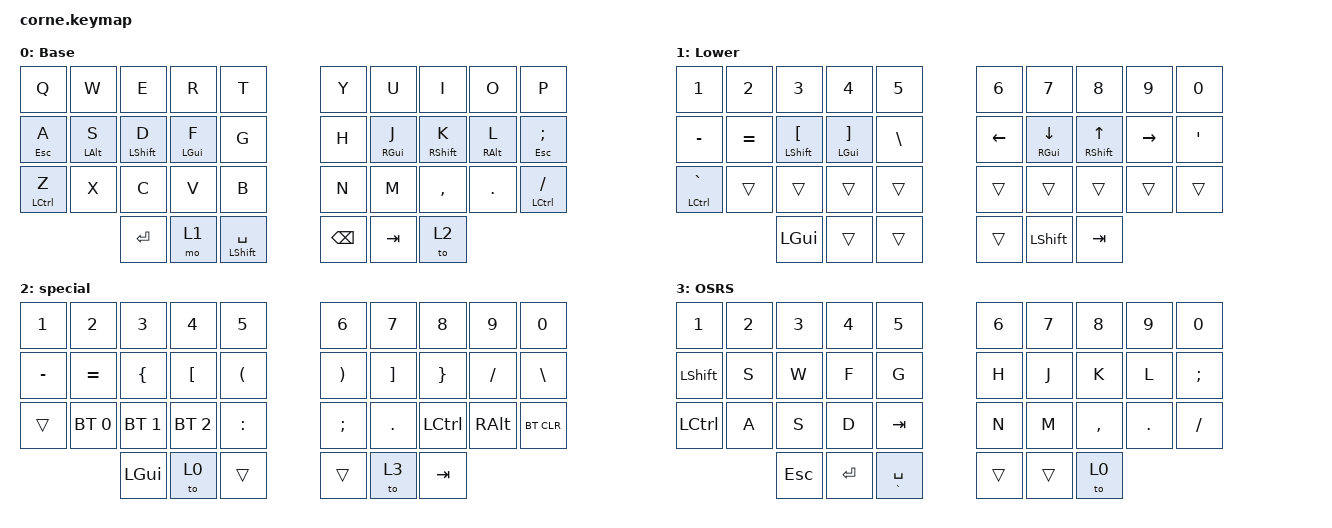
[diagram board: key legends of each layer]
/*
 * Copyright (c) 2020 The ZMK Contributors
 *
 * SPDX-License-Identifier: MIT
 */

#include <behaviors.dtsi>
#include <dt-bindings/zmk/bt.h>
#include <dt-bindings/zmk/keys.h>

&mt {
    tapping-term-ms = <300>;
    flavor = "tap-preferred";
};

/ {
    chosen { zmk,matrix_transform = &five_column_transform; };

    behaviors {
        kht: kht {
            compatible = "zmk,behavior-hold-tap";
            label = "Key hold tap";
            bindings = <&kp>, <&kp>;

            #binding-cells = <2>;
            tapping-term-ms = <250>;
            quick-tap-ms = <200>;
            require-prior-idle-ms = <125>;
            flavor = "tap-preferred";
        };
    };

    combos {
        compatible = "zmk,combos";

        tab_combo {
            bindings = <&kp TAB>;
            key-positions = <11 12 13>;
        };

        enter_combo {
            bindings = <&kp ENTER>;
            key-positions = <32 33>;
        };
    };

    keymap {
        compatible = "zmk,keymap";

        default_layer {
            // -----------------------------------------------------------------------------------------
            // |  Q  |  W  |  E  |  R  |  T  |     |  Y  |  U   |  I   |  O   | P |
            // |  A  |  S  |  D  |  F  |  G  |     |  H  |  J   |  K   |  L   | ' | 
            // |  Z  |  X  |  C  |  V  |  B  |     |  N  |  M   | CTRL | META | . |
            //             | GUI | LWR | SPC |     | ENT | RSE  | BSPC |

            display-name = "Base";
            bindings = <
  &kp Q                &kp W            &kp E              &kp R            &kp T                    &kp Y          &kp U             &kp I               &kp O             &kp P
  &kht ESCAPE A        &kht LEFT_ALT S  &kht LEFT_SHIFT D  &kht LEFT_GUI F  &kp G                    &kp H          &kht RIGHT_GUI J  &kht RIGHT_SHIFT K  &kht RIGHT_ALT L  &kht ESCAPE SEMI
  &kht LEFT_CONTROL Z  &kp X            &kp C              &kp V            &kp B                    &kp N          &kp M             &kp COMMA           &kp PERIOD        &kht LEFT_CONTROL SLASH
                                        &kp ENTER          &mo 1            &kht LEFT_SHIFT SPACE    &kp BACKSPACE  &kp TAB           &to 2
            >;
        };

        num_symbols {
            // -----------------------------------------------------------------------------------------
            // | !     |  @  |  #  |  $  |  %  |     |  ^  |  &  |  *  |  (  |  )  |
            // | BT1   | BT2 | BT3 | BT4 | BT5 |     | LFT | DWN |  UP | RGT |     |
            // | BTCLR |     |     |     |     |     |     |     |     |     |     |
            //               | GUI |     | SPC |     | ENT | ESC | TAB |

            display-name = "Lower";
            bindings = <
  &kp NUMBER_1             &kp NUMBER_2  &kp NUMBER_3                  &kp NUMBER_4                 &kp NUMBER_5     &kp NUMBER_6  &kp NUMBER_7               &kp NUMBER_8         &kp NUMBER_9  &kp NUMBER_0
  &kp MINUS                &kp EQUAL     &kht LEFT_SHIFT LEFT_BRACKET  &kht LEFT_GUI RIGHT_BRACKET  &kp BACKSLASH    &kp LEFT      &kht RIGHT_GUI DOWN_ARROW  &kht RIGHT_SHIFT UP  &kp RIGHT     &kp SINGLE_QUOTE
  &kht LEFT_CONTROL GRAVE  &trans        &trans                        &trans                       &trans           &trans        &trans                     &trans               &trans        &trans
                                         &kp LGUI                      &trans                       &trans           &trans        &kp LEFT_SHIFT             &kp TAB
            >;
        };

        special_layer {
            // -----------------------------------------------------------------------------------------
            // | 1! |  2@ |  3# |  4$ |  5% |     |  6^ |  7& |  8* |  9(  |  0)  |
            // | -_ |  =+ |  {  |  [  |  (  |     |  )  |  ]  |  }  |  /?  |  \|  |
            // | `~ |     |     |  ,< |  :  |     |  ;  |  .> | CTRL| META |      |
            //            | GUI | ESC | SPC |     | ENT |     | TAB |

            display-name = "special";
            bindings = <
  &kp N1     &kp N2        &kp N3        &kp N4        &kp N5       &kp N6    &kp N7    &kp N8     &kp N9    &kp N0
  &kp MINUS  &kp EQUAL     &kp LBRC      &kp LBKT      &kp LPAR     &kp RPAR  &kp RBKT  &kp RBRC   &kp FSLH  &kp BSLH
  &trans     &bt BT_SEL 0  &bt BT_SEL 1  &bt BT_SEL 2  &kp COLON    &kp SEMI  &kp DOT   &kp LCTRL  &kp RALT  &bt BT_CLR
                           &kp LGUI      &to 0         &trans       &trans    &to 3     &kp TAB
            >;
        };

        runescape {
            display-name = "OSRS";
            bindings = <
  &kp NUMBER_1      &kp NUMBER_2  &kp NUMBER_3  &kp NUMBER_4  &kp N5              &kp NUMBER_6  &kp N7  &kp N8     &kp N9   &kp N0
  &kp LEFT_SHIFT    &kp S         &kp W         &kp F         &kp G               &kp H         &kp J   &kp K      &kp L    &kp SEMI
  &kp LEFT_CONTROL  &kp A         &kp S         &kp D         &kp TAB             &kp N         &kp M   &kp COMMA  &kp DOT  &kp FSLH
                                  &kp ESCAPE    &kp ENTER     &kht GRAVE SPACE    &trans        &trans  &to 0
            >;
        };

        extra_2 { status = "reserved"; };

        extra_3 { status = "reserved"; };
    };
};
